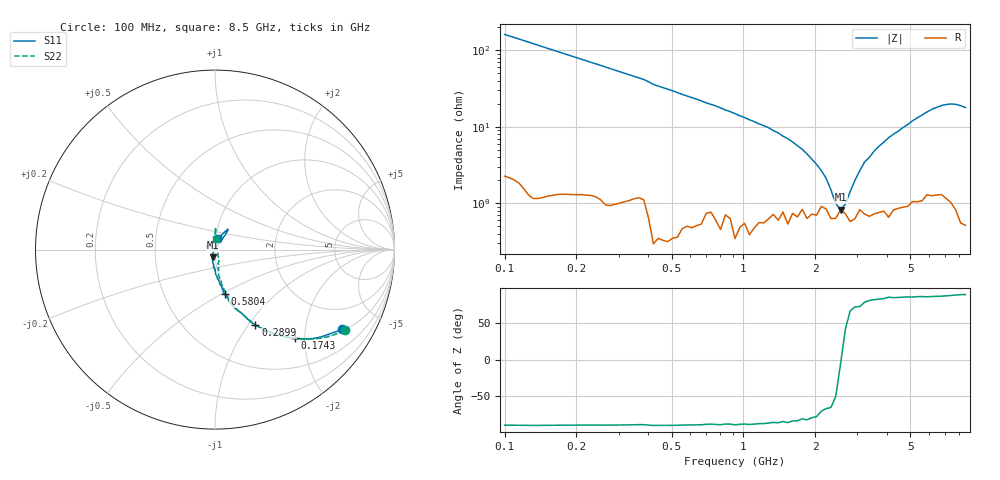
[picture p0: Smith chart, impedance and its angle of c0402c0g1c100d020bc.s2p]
! S-parameter Generated by TDK Corporation
! Copyright(C) 2015 TDK Corporation.
! All Rights Reserved.
! TDK P/N: C0402C0G1C100D020BC (Multilayer Ceramic Chip Capacitors)
! Property: C=10pF
! Size(LxWxT): 0.4x0.2x0.2mm, 0.016x0.0079x0.0079inches
! Model Type: s2p (Touchstone File Format Version 1.0)
! Frequency: DC=Yes Start=100MHz Stop=8500MHz 98points Log-sweep
! Note:
! Model Generated on Jun. 23, 2015
! Hash(MD5):
! Port Assignments:
!  1 ---| |--- 2
! Applicable Conditions:
!  Temperature = 25 degC
!  DC Bias Voltage = 0 V
!  Small Signal Operation
! Terms and conditions regarding TDK Simulation Models
! (1)This simulation model is being provided solely for informational purposes. Please refer to the specifications of the products in terms of detailed characteristics of such products.
! (2)In no event shall TDK Corporation of any of its subsidiaries be liable for any loss or damage arising, directly or indirectly,
!  From any information contained in this simulation model, including, but not limited to loss or damages arising from any inaccuracies, omissions or errors in connection with such information.
! (3)Any and all copyrights on this simulation model are owned by TDK Corporation.
!  Duplication or redistribution of this simulation model without prior written permission from TDK Corporation is prohibited.
! (4)This simulation model is subject to any modification or change without any prior notice.
! (5)Neither TDK Corporation nor any of its subsidiaries shall make any warranty, express or implied,
!  Including but not limited to the correctness, implied warranties of merchantability and fitness for a particular purpose with respect to this simulation models.
! (6)The use of this simulation model shall be deemed to have consented to the terms and conditions hereof.
# MHz S MA R 50
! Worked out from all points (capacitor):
!   97 points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, 100 MHz to 8.5 GHz, reference 50 ohm
!   read as one part in series: C = 9.86 pF near 100 MHz
!   lowest |Z| = 824 mohm at 2.552 GHz (marker M1)
!   series resonance near 2.565 GHz, so ESL is about 390 pH
!   S11 on the Smith chart (normalised r, x): 100 MHz: 1.07, -3.15; 174.3 MHz: 1.01, -1.80; 289.9 MHz: 0.99, -1.08; 580.4 MHz: 0.98, -0.52; 8.5 GHz: 1.03, +0.13
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100  0.8361 -32.0  0.5223 57.3  0.5218 57.6  0.8501 -31.8
174.2518  0.6664 -47.9  0.7255 41.8  0.7246 42.1  0.6788 -47.3
289.9056  0.4775 -61.9  0.8631 28.1  0.8622 28.3  0.4857 -61.0
580.4012  0.2528 -77.9  0.9586 13.2  0.9575 13.4  0.2582 -75.5
965.6229  0.1606 -85.3  0.9798 6.4  0.979 6.7  0.1581 -80.7
1533.871  0.1001 -94.9  0.9855 1.9  0.9843 2.3  0.1035 -80.9
2551.925  0.04537 -107.0  0.988 -2.6  0.987 -2.3  0.04761 -66.1
2931.989  0.03009 -121.1  0.9897 -4.0  0.988 -3.6  0.0348 -62.9
3070.863  0.02283 -119.4  0.9889 -4.4  0.9874 -4.2  0.03242 -57.1
3216.315  0.0177 -125.6  0.9893 -5.0  0.9875 -4.6  0.02234 -51.1
3368.656  0.01424 -131.8  0.9894 -5.3  0.9883 -5.2  0.01954 -51.7
3528.213  0.00742 -137.5  0.9893 -5.9  0.9874 -5.5  0.01162 -21.7
3695.327  0.003732 158.9  0.9892 -6.4  0.9872 -6.1  0.01072 -1.9
3870.357  0.006034 62.2  0.9889 -6.9  0.9865 -6.6  0.01036 51.2
4053.677  0.01501 82.3  0.9898 -7.6  0.9862 -7.0  0.01655 69.7
4446.777  0.02742 56.1  0.9865 -8.5  0.9864 -8.2  0.03059 87.1
5109.044  0.06287 55.3  0.9845 -10.4  0.9843 -10.1  0.06095 89.7
5869.945  0.1001 54.5  0.9812 -12.5  0.9785 -12.3  0.09616 88.4
6744.168  0.1304 56.4  0.9745 -14.6  0.9727 -14.3  0.1229 87.5
7398.175  0.1307 58.3  0.9747 -15.8  0.9728 -15.6  0.1192 88.7
8115.603  0.09592 64.1  0.9783 -16.8  0.9791 -16.3  0.08567 89.0
8500  0.06756 74.2  0.9804 -17.3  0.9804 -16.9  0.05692 82.4
